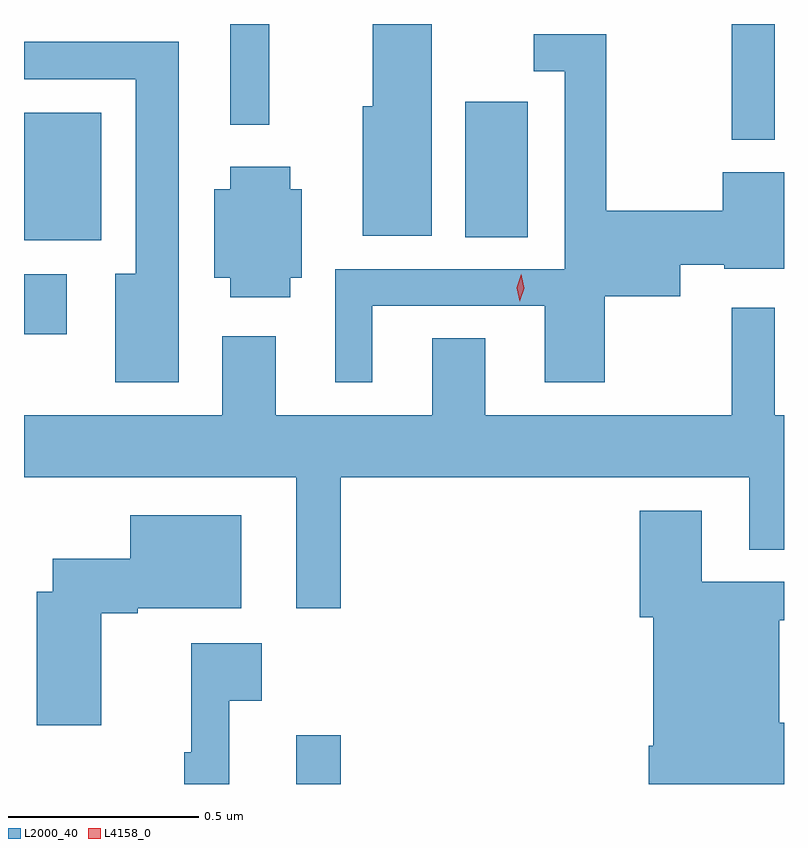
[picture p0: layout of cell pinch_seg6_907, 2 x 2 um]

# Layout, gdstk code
import gdstk
lib = gdstk.Library(unit=1e-6, precision=1e-09)
def R(c, l, rs):  # rectangles x0, y0, x1, y1
    for r in rs: c.add(gdstk.rectangle(r[:2], r[2:], *l))
def P(c, l, *ps):  # polygons
    for p in ps: c.add(gdstk.Polygon(p, *l))
L2000_40 = (2000, 40)
L4158_0 = (4158, 0)

pinch_seg6_907 = lib.new_cell('pinch_seg6_907')
R(pinch_seg6_907, L2000_40, [(243.272,970.505,243.389,970.633), (242.555,971.688,242.668,971.847), (242.555,971.936,242.758,972.271), (243.716,971.944,243.88,972.301), (244.417,972.2,244.531,972.505), (243.098,972.24,243.2,972.505)])
P(pinch_seg6_907, L2000_40, [(243.628,972.505),(243.473,972.505),(243.473,972.288),(243.446,972.288),(243.446,971.948),(243.628,971.948)],
  [(243.472,971.763),(243.926,971.763),(243.926,971.562),(244.083,971.562),(244.083,971.789),(244.282,971.789),(244.282,971.872),(244.398,971.872),(244.398,971.861),(244.555,971.861),(244.555,972.115),(244.394,972.115),(244.394,972.014),(244.087,972.014),(244.087,972.478),(243.897,972.478),(243.897,972.381),(243.978,972.381),(243.978,971.859),(243.374,971.859),(243.374,971.562),(243.472,971.562)],
  [(242.962,972.458),(242.555,972.458),(242.555,972.36),(242.849,972.36),(242.849,971.848),(242.795,971.848),(242.795,971.562),(242.962,971.562)],
  [(243.256,971.837),(243.286,971.837),(243.286,972.07),(243.256,972.07),(243.256,972.13),(243.098,972.13),(243.098,972.07),(243.056,972.07),(243.056,971.837),(243.098,971.837),(243.098,971.786),(243.256,971.786)],
  [(244.417,971.758),(244.417,971.476),(243.769,971.476),(243.769,971.678),(243.629,971.678),(243.629,971.476),(243.217,971.476),(243.217,971.683),(243.077,971.683),(243.077,971.476),(242.555,971.476),(242.555,971.312),(243.272,971.312),(243.272,970.968),(243.389,970.968),(243.389,971.312),(244.463,971.312),(244.463,971.122),(244.555,971.122),(244.555,971.476),(244.531,971.476),(244.531,971.758)],
  [(244.555,970.666),(244.543,970.666),(244.543,970.936),(244.555,970.936),(244.555,971.037),(244.339,971.037),(244.339,971.224),(244.175,971.224),(244.175,970.944),(244.211,970.944),(244.211,970.606),(244.199,970.606),(244.199,970.505),(244.555,970.505)],
  [(242.758,970.955),(242.854,970.955),(242.854,970.967),(243.127,970.967),(243.127,971.212),(242.834,971.212),(242.834,971.098),(242.63,971.098),(242.63,971.011),(242.588,971.011),(242.588,970.659),(242.758,970.659)],
  [(243.095,970.724),(243.181,970.724),(243.181,970.876),(242.995,970.876),(242.995,970.588),(242.977,970.588),(242.977,970.505),(243.095,970.505)])
P(pinch_seg6_907, L4158_0, [(243.86,971.775),(243.86,971.775),(243.852,971.811),(243.863,971.846),(243.863,971.847),(243.863,971.846),(243.871,971.81),(243.86,971.775)])

lib.write_gds('pinch_seg6_907.gds')
